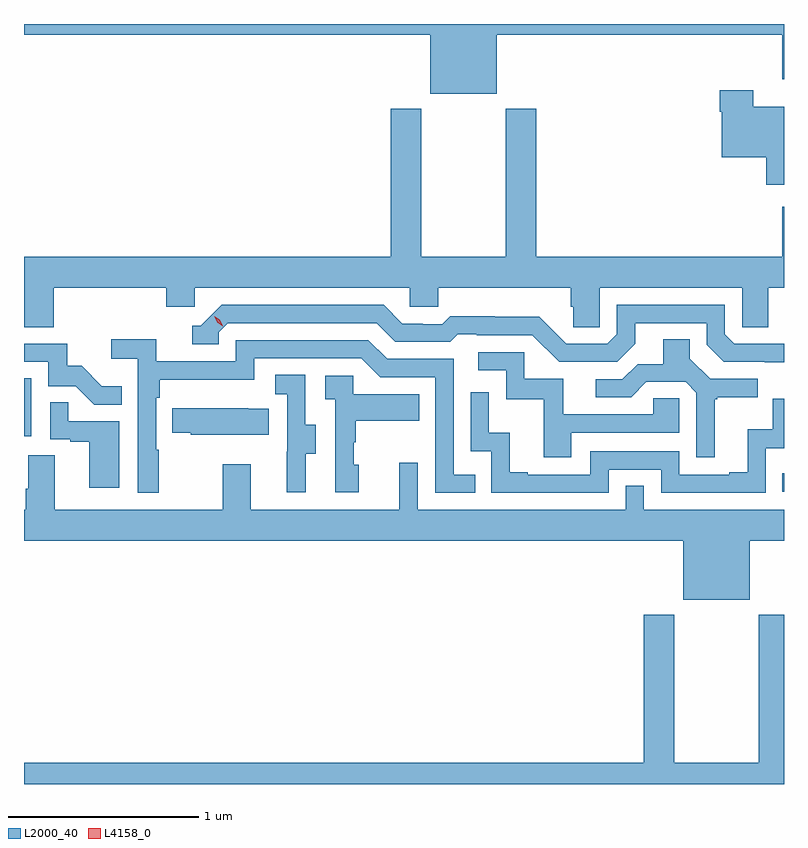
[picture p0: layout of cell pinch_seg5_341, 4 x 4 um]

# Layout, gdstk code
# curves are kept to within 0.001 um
import gdstk
lib = gdstk.Library(unit=1e-6, precision=1e-09)
def R(c, l, rs):  # rectangles x0, y0, x1, y1
    for r in rs: c.add(gdstk.rectangle(r[:2], r[2:], *l))
def P(c, l, *ps):  # polygons
    for p in ps: c.add(gdstk.Polygon(p, *l))
L2000_40 = (2000, 40)
L4158_0 = (4158, 0)

pinch_seg5_341 = lib.new_cell('pinch_seg5_341')
R(pinch_seg5_341, L2000_40, [(955.093,891.651,955.103,891.748), (951.103,891.942,951.142,892.249)])
P(pinch_seg5_341, L2000_40, [(953.59,894.056),(955.093,894.056),(955.093,893.823),(955.103,893.823),(955.103,894.113),(951.103,894.113),(951.103,894.056),(953.24,894.056),(953.24,893.747),(953.59,893.747)],
  [(955.103,893.677),(954.942,893.677),(954.942,893.764),(954.764,893.764),(954.764,893.651),(954.776,893.651),(954.776,893.411),(955.01,893.411),(955.01,893.267),(955.103,893.267)],
  [(951.26,892.724),(951.851,892.724),(951.851,892.626),(952.002,892.626),(952.002,892.724),(953.133,892.724),(953.133,892.626),(953.283,892.626),(953.283,892.724),(953.981,892.724),(953.981,892.626),(953.995,892.626),(953.995,892.516),(954.132,892.516),(954.132,892.724),(954.882,892.724),(954.882,892.516),(955.021,892.516),(955.021,892.724),(955.103,892.724),(955.103,893.152),(955.093,893.152),(955.093,892.888),(953.798,892.888),(953.798,893.668),(953.638,893.668),(953.638,892.888),(953.193,892.888),(953.193,893.668),(953.033,893.668),(953.033,892.888),(951.103,892.888),(951.103,892.516),(951.26,892.516)],
  [(955.103,892.431),(954.84,892.431),(954.792,892.479),(954.792,892.635),(954.222,892.635),(954.222,892.479),(954.174,892.431),(953.958,892.431),(953.816,892.573),(953.58,892.573),(953.58,892.576),(953.347,892.576),(953.305,892.533),(953.202,892.533),(953.202,892.536),(953.095,892.536),(952.996,892.635),(952.143,892.635),(952.032,892.524),(951.989,892.524),(951.989,892.428),(952.128,892.428),(952.128,892.491),(952.176,892.539),(952.959,892.539),(953.058,892.44),(953.347,892.44),(953.386,892.479),(953.485,892.479),(953.485,892.476),(953.778,892.476),(953.919,892.335),(954.225,892.335),(954.319,892.429),(954.319,892.539),(954.696,892.539),(954.696,892.425),(954.786,892.335),(955.103,892.334)],
  [(951.811,891.872),(951.798,891.872),(951.798,892.145),(951.818,892.145),(951.818,892.241),(952.314,892.241),(952.314,892.353),(952.878,892.353),(952.977,892.254),(953.268,892.254),(953.268,891.645),(953.477,891.645),(953.477,891.741),(953.364,891.741),(953.364,892.35),(953.014,892.35),(952.915,892.449),(952.218,892.449),(952.218,892.338),(951.8,892.338),(951.8,892.454),(951.561,892.454),(951.561,892.352),(951.702,892.352),(951.702,891.645),(951.811,891.645)],
  [(954.739,892.137),(954.751,892.137),(954.751,892.148),(954.964,892.148),(954.964,892.245),(954.714,892.245),(954.607,892.352),(954.607,892.454),(954.467,892.454),(954.467,892.322),(954.332,892.322),(954.252,892.242),(954.111,892.242),(954.111,892.149),(954.298,892.149),(954.379,892.23),(954.585,892.23),(954.642,892.173),(954.642,891.834),(954.739,891.834)],
  [(951.617,892.207),(951.513,892.207),(951.406,892.314),(951.33,892.314),(951.33,892.431),(951.103,892.431),(951.103,892.335),(951.231,892.335),(951.231,892.206),(951.375,892.206),(951.473,892.108),(951.617,892.108)],
  [(953.983,891.963),(954.552,891.963),(954.552,892.143),(954.415,892.143),(954.415,892.059),(953.941,892.059),(953.941,892.245),(953.736,892.245),(953.736,892.386),(953.493,892.386),(953.493,892.29),(953.64,892.29),(953.64,892.137),(953.839,892.137),(953.839,891.834),(953.983,891.834)],
  [(952.585,891.85),(952.639,891.85),(952.639,892.005),(952.584,892.005),(952.584,892.268),(952.425,892.268),(952.425,892.165),(952.488,892.165),(952.488,891.861),(952.487,891.861),(952.487,891.648),(952.585,891.648)],
  [(952.864,891.792),(952.839,891.792),(952.839,891.911),(952.849,891.911),(952.849,892.025),(953.183,892.025),(953.183,892.165),(952.836,892.165),(952.836,892.263),(952.689,892.263),(952.689,892.139),(952.74,892.139),(952.74,891.648),(952.864,891.648)],
  [(954.18,891.768),(954.456,891.768),(954.456,891.645),(955.008,891.645),(955.008,891.881),(955.103,891.881),(955.103,892.14),(955.044,892.14),(955.044,891.979),(954.911,891.979),(954.911,891.754),(954.815,891.754),(954.815,891.741),(954.552,891.741),(954.552,891.864),(954.084,891.864),(954.084,891.741),(953.755,891.741),(953.755,891.754),(953.66,891.754),(953.66,891.962),(953.55,891.962),(953.55,892.174),(953.454,892.174),(953.454,891.864),(953.562,891.864),(953.562,891.645),(954.18,891.645)],
  [(951.604,892.023),(951.335,892.023),(951.335,892.121),(951.24,892.121),(951.24,891.927),(951.347,891.927),(951.347,891.915),(951.446,891.915),(951.446,891.672),(951.604,891.672)],
  [(952.391,892.087),(952.283,892.087),(952.283,892.09),(951.883,892.09),(951.883,891.961),(951.981,891.961),(951.981,891.95),(952.391,891.95)],
  [(954.922,891.392),(955.103,891.392),(955.103,891.556),(954.366,891.556),(954.366,891.683),(954.27,891.683),(954.27,891.556),(953.175,891.556),(953.175,891.805),(953.078,891.805),(953.078,891.556),(952.297,891.556),(952.297,891.796),(952.15,891.796),(952.15,891.556),(951.265,891.556),(951.265,891.842),(951.125,891.842),(951.125,891.668),(951.113,891.668),(951.113,891.556),(951.103,891.556),(951.103,891.392),(954.572,891.392),(954.572,891.083),(954.922,891.083)],
  [(951.103,890.113),(955.103,890.113),(955.103,891.004),(954.97,891.004),(954.97,890.224),(954.525,890.224),(954.525,891.004),(954.365,891.004),(954.365,890.224),(951.103,890.224)])
P(pinch_seg5_341, L4158_0, [(952.15,892.523),(952.119,892.542),(952.103,892.575),(952.103,892.575),(952.103,892.575),(952.134,892.556),(952.15,892.523),(952.15,892.523)])

lib.write_gds('pinch_seg5_341.gds')
